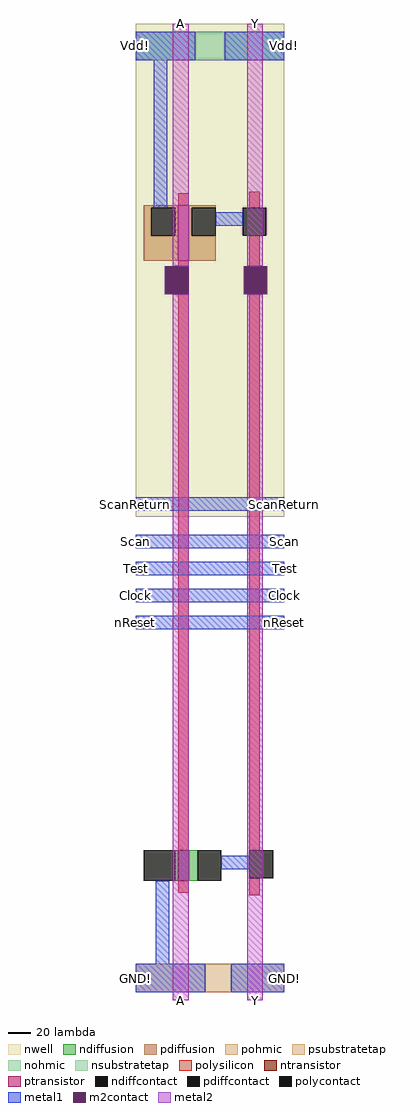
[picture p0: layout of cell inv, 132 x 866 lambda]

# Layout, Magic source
magic
tech tsmc180
<< nwell >>
rect 0 429 132 866
<< polysilicon >>
rect 38 705 47 716
rect 101 703 110 717
rect 38 651 47 656
rect 101 651 110 678
rect 38 133 47 626
rect 101 133 110 626
rect 38 95 47 106
rect 101 93 110 108
<< ndiffusion >>
rect 35 106 38 133
rect 47 106 55 133
<< pdiffusion >>
rect 7 703 38 705
rect 7 678 14 703
rect 35 678 38 703
rect 7 656 38 678
rect 47 703 71 705
rect 47 678 50 703
rect 47 656 71 678
<< pohmic >>
rect 0 7 62 32
rect 85 7 132 32
<< nohmic >>
rect 0 834 53 859
rect 79 834 132 859
<< ntransistor >>
rect 38 106 47 133
<< ptransistor >>
rect 38 656 47 705
<< polycontact >>
rect 95 678 116 703
rect 26 626 47 651
rect 96 626 117 651
rect 101 108 122 133
<< ndiffcontact >>
rect 7 106 35 133
rect 55 106 76 133
<< pdiffcontact >>
rect 14 678 35 703
rect 50 678 71 703
<< psubstratetap >>
rect 62 7 85 32
<< nsubstratetap >>
rect 53 834 79 859
<< metal1 >>
rect 0 834 53 859
rect 79 834 132 859
rect 16 703 28 834
rect 71 687 95 699
rect 0 434 132 446
rect 0 401 132 413
rect 0 377 132 389
rect 0 353 132 365
rect 0 329 132 341
rect 76 116 101 128
rect 18 32 30 106
rect 0 7 62 32
rect 85 7 132 32
<< m2contact >>
rect 26 626 47 651
rect 96 626 117 651
<< metal2 >>
rect 33 651 47 866
rect 99 651 113 866
rect 33 0 47 626
rect 99 0 113 626
<< labels >>
rlabel metal1 0 834 0 859 3 Vdd!
rlabel metal1 132 834 132 859 7 Vdd!
rlabel metal1 0 7 0 32 3 GND!
rlabel metal1 132 7 132 32 7 GND!
rlabel metal1 132 329 132 341 7 nReset
rlabel metal1 0 329 0 341 3 nReset
rlabel metal1 132 353 132 365 7 Clock
rlabel metal1 0 353 0 365 3 Clock
rlabel metal1 132 377 132 389 7 Test
rlabel metal1 0 377 0 389 3 Test
rlabel metal1 132 401 132 413 7 Scan
rlabel metal1 0 401 0 413 3 Scan
rlabel metal1 132 434 132 446 7 ScanReturn
rlabel metal1 0 434 0 446 3 ScanReturn
rlabel metal2 33 866 47 866 5 A
rlabel metal2 99 866 113 866 5 Y
rlabel metal2 33 0 47 0 1 A
rlabel metal2 99 0 113 0 1 Y
<< end >>
